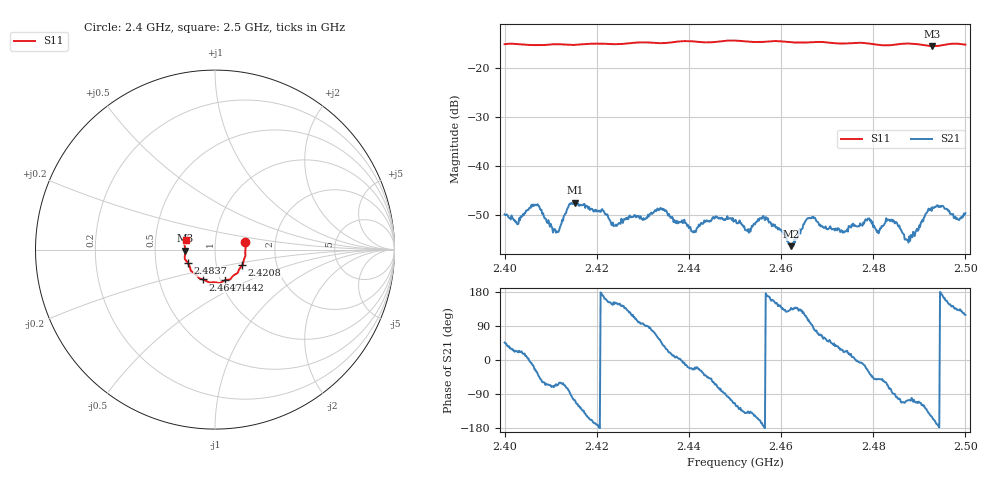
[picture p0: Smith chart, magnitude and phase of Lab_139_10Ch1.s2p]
# Hz S RI R 50
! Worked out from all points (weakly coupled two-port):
!   601 points, 2.4 GHz to 2.5 GHz, reference 50 ohm
!   highest |S21| = -47.43 dB at 2.4153 GHz (marker M1); lowest = -56.3 dB at 2.4622 GHz (marker M2)
!   lowest |S11| = -15.6 dB at 2.4928 GHz (marker M3), VSWR 1.40, Z = 35.8 - j0.38 ohm
!   |S11| at or under -10 dB: start of sweep to end of sweep
!   S12 and S22 are empty: the file has one direction only
!   S11 on the Smith chart (normalised r, x): 2.4 GHz: 1.40, +0.12; 2.4208 GHz: 1.33, -0.24; 2.4442 GHz: 1.05, -0.37; 2.4647 GHz: 0.83, -0.29; 2.4837 GHz: 0.73, -0.11; 2.5 GHz: 0.72, +0.08
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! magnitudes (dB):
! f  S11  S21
! 2.4 GHz  -15.2  -49.8
! 2.4028 GHz  -15.2  -51.8
! 2.407 GHz  -15.4  -47.9
! 2.4113 GHz  -15.2  -53.3
! 2.4153 GHz  -15.4  -47.4
! 2.4167 GHz  -15.3  -48.0
! 2.4208 GHz  -15.1  -49.3
! 2.4242 GHz  -15.2  -51.9
! 2.4333 GHz  -15.0  -48.9
! 2.441 GHz  -14.7  -53.5
! 2.4442 GHz  -14.9  -51.3
! 2.45 GHz  -14.5  -51.0
! 2.4567 GHz  -14.7  -50.4
! 2.4622 GHz  -14.8  -56.3
! 2.4647 GHz  -14.9  -52.7
! 2.4667 GHz  -14.8  -50.4
! 2.4733 GHz  -15.1  -53.5
! 2.4833 GHz  -15.5  -50.9
! 2.4837 GHz  -15.4  -51.2
! 2.4875 GHz  -15.1  -55.2
! 2.4928 GHz  -15.6  -48.4
! 2.5 GHz  -15.3  -49.6
